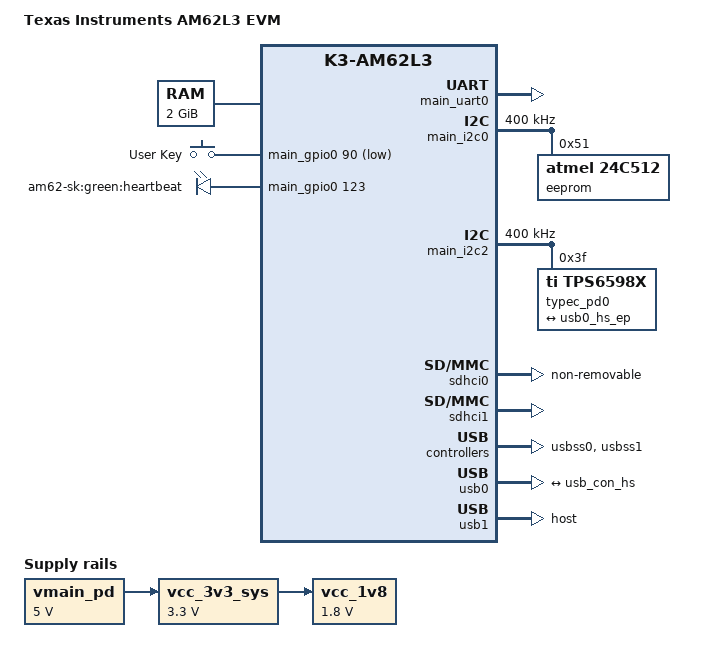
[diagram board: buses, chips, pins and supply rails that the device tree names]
// SPDX-License-Identifier: GPL-2.0-only or MIT
/*
 * Low Power Mode Demo Device Tree file for the AM62L3 Starter Kit
 * Copyright (C) 2024 Texas Instruments Incorporated - https://www.ti.com/
 */

/dts-v1/;

#include <dt-bindings/gpio/gpio.h>
#include <dt-bindings/input/input.h>
#include <dt-bindings/leds/common.h>
#include <dt-bindings/net/ti-dp83867.h>
#include "k3-am62l3.dtsi"
#include "k3-pinctrl.h"

/ {
	compatible = "ti,am62l3-evm", "ti,am62l3";
	model = "Texas Instruments AM62L3 EVM";

	chosen {
		stdout-path = &main_uart0;
	};

	memory@80000000 {
		/* 2G RAM */
		reg = <0x00000000 0x80000000 0x00000000 0x80000000>;
		device_type = "memory";
		bootph-all;
	};

	reserved-memory {
		#address-cells = <2>;
		#size-cells = <2>;
		ranges;

		secure_tfa_ddr: tfa@80000000 {
			reg = <0x00 0x80000000 0x00 0x200000>;
			no-map;
			bootph-all;
		};

		secure_ddr: optee@80200000 {
			reg = <0x00 0x80200000 0x00 0x800000>;
			no-map;
		};

		tifs_ctx_ddr: tifs@80a00000 {
			reg = <0x00 0x80a00000 0x00 0x800000>;
			no-map;
			bootph-all;
		};
	};

	gpio_keys: gpio-keys {
		compatible = "gpio-keys";
		autorepeat;
		pinctrl-names = "default";
		pinctrl-0 = <&usr_button_pins_default>;

		usr: button-usr {
			label = "User Key";
			linux,code = <BTN_0>;
			gpios = <&main_gpio0 90 GPIO_ACTIVE_LOW>;
		};
	};

	leds {
		compatible = "gpio-leds";
		pinctrl-names = "default";
		pinctrl-0 = <&usr_led_pins_default>;

		led-0 {
			label = "am62-sk:green:heartbeat";
			gpios = <&main_gpio0 123 GPIO_ACTIVE_HIGH>;
			linux,default-trigger = "heartbeat";
			function = LED_FUNCTION_HEARTBEAT;
			default-state = "on";
		};
	};

	vmain_pd: regulator-0 {
		/* TPS65988 PD CONTROLLER OUTPUT */
		bootph-all;
		compatible = "regulator-fixed";
		regulator-name = "vmain_pd";
		regulator-min-microvolt = <5000000>;
		regulator-max-microvolt = <5000000>;
		regulator-always-on;
		regulator-boot-on;
	};

	vcc_3v3_sys: regulator-1 {
		/* output of LM61460-Q1 */
		compatible = "regulator-fixed";
		regulator-name = "vcc_3v3_sys";
		regulator-min-microvolt = <3300000>;
		regulator-max-microvolt = <3300000>;
		vin-supply = <&vmain_pd>;
		regulator-always-on;
		regulator-boot-on;
	};

	vcc_1v8: regulator-3 {
		/* output of TPS6282518DMQ */
		compatible = "regulator-fixed";
		regulator-name = "vcc_1v8";
		regulator-min-microvolt = <1800000>;
		regulator-max-microvolt = <1800000>;
		vin-supply = <&vcc_3v3_sys>;
		regulator-always-on;
		regulator-boot-on;
	};
};

&pmx0 {
	main_uart0_pins_default: main-uart0-default-pins {
		pinctrl-single,pins = <
			AM62LX_IOPAD(0x01b4, PIN_INPUT, 0)	/* (D13) UART0_RXD */
			AM62LX_IOPAD(0x01b8, PIN_OUTPUT, 0)	/* (C13) UART0_TXD */
		>;
		bootph-all;
	};

	main_uart1_pins_default: main-uart1-default-pins {
		pinctrl-single,pins = <
			AM62LX_IOPAD(0x0180, PIN_INPUT, 2) /* (A8) MCASP0_AXR3.UART1_CTSn */
			AM62LX_IOPAD(0x0184, PIN_OUTPUT, 2) /* (B10) MCASP0_AXR2.UART1_RTSn */
			AM62LX_IOPAD(0x0198, PIN_INPUT, 2) /* (C11) MCASP0_AFSR.UART1_RXD */
			AM62LX_IOPAD(0x019c, PIN_OUTPUT, 2) /* (A12) MCASP0_ACLKR.UART1_TXD */
		>;
		bootph-all;
	};

	main_i2c0_pins_default: main-i2c0-default-pins {
		pinctrl-single,pins = <
			AM62LX_IOPAD(0x01cc, PIN_INPUT_PULLUP, 0) /* (B7) I2C0_SCL */
			AM62LX_IOPAD(0x01d0, PIN_INPUT_PULLUP, 0) /* (A7) I2C0_SDA */
		>;
		bootph-all;
	};

	main_i2c2_pins_default: main-i2c2-default-pins {
		pinctrl-single,pins = <
			AM62LX_IOPAD(0x01dc, PIN_INPUT_PULLUP, 0) /* (B8) I2C2_SCL */
			AM62LX_IOPAD(0x01e0, PIN_INPUT_PULLUP, 0) /* (D8) I2C2_SDA */
		>;
	};

	main_gpio0_ioexp_intr_pins_default: main-gpio0-ioexp-intr-default-pins {
		pinctrl-single,pins = <
			AM62LX_IOPAD(0x01b0, PIN_INPUT, 7) /* (B12) SPI0_D1.GPIO0_91 */
		>;
		bootph-all;
	};

	usr_led_pins_default: usr-led-pins-default {
		pinctrl-single,pins = <
			AM62LX_IOPAD(0x0238, PIN_OUTPUT, 7) /* (D24) MMC1_SDWP.GPIO0_123 */
		>;
	};

	usr_button_pins_default: usr-button-pins-default {
		pinctrl-single,pins = <
			AM62LX_IOPAD(0x01ac, PIN_INPUT, 7) /* (E12) SPI0_D0.GPIO0_90 */
		>;
	};

	main_mmc0_pins_default: main-mmc0-default-pins {
		pinctrl-single,pins = <
			AM62LX_IOPAD(0x0214, PIN_INPUT_PULLUP, 0) /* (D2) MMC0_CMD */
			AM62LX_IOPAD(0x020c, PIN_OUTPUT, 0) /* (B2) MMC0_CLK */
			AM62LX_IOPAD(0x0208, PIN_INPUT_PULLUP, 0) /* (D3) MMC0_DAT0 */
			AM62LX_IOPAD(0x0204, PIN_INPUT_PULLUP, 0) /* (D4) MMC0_DAT1 */
			AM62LX_IOPAD(0x0200, PIN_INPUT_PULLUP, 0) /* (C1) MMC0_DAT2 */
			AM62LX_IOPAD(0x01fc, PIN_INPUT_PULLUP, 0) /* (C2) MMC0_DAT3 */
			AM62LX_IOPAD(0x01f8, PIN_INPUT_PULLUP, 0) /* (C4) MMC0_DAT4 */
			AM62LX_IOPAD(0x01f4, PIN_INPUT_PULLUP, 0) /* (B3) MMC0_DAT5 */
			AM62LX_IOPAD(0x01f0, PIN_INPUT_PULLUP, 0) /* (A3) MMC0_DAT6 */
			AM62LX_IOPAD(0x01ec, PIN_INPUT_PULLUP, 0) /* (B4) MMC0_DAT7 */
		>;
		bootph-all;
	};

	main_mmc1_pins_default: main-mmc1-default-pins {
		pinctrl-single,pins = <
			AM62LX_IOPAD(0x0230, PIN_INPUT, 0) /* (Y3) MMC1_CMD */
			AM62LX_IOPAD(0x0228, PIN_OUTPUT, 0) /* (Y2) MMC1_CLK */
			AM62LX_IOPAD(0x0224, PIN_INPUT, 0) /* (AA1) MMC1_DAT0 */
			AM62LX_IOPAD(0x0220, PIN_INPUT_PULLUP, 0) /* (Y4) MMC1_DAT1 */
			AM62LX_IOPAD(0x021c, PIN_INPUT_PULLUP, 0) /* (AA2) MMC1_DAT2 */
			AM62LX_IOPAD(0x0218, PIN_INPUT_PULLUP, 0) /* (AB2) MMC1_DAT3 */
			AM62LX_IOPAD(0x0234, PIN_INPUT, 0) /* (B6) MMC1_SDCD */
		>;
		bootph-all;
	};

	main_usb1_default_pins: main-usb1-default-pins {
		pinctrl-single,pins = <
			AM62LX_IOPAD(0x0248, PIN_INPUT | PIN_DS_PULLUD_ENABLE | PIN_DS_PULL_UP, 0) /* (A5) USB1_DRVVBUS */
		>;
	};

};

&main_uart0 {
	pinctrl-names = "default";
	pinctrl-0 = <&main_uart0_pins_default>;
	status = "okay";
	bootph-all;
};

&main_uart1 {
	pinctrl-names = "default";
	pinctrl-0 = <&main_uart1_pins_default>;
	status = "okay";
	bootph-all;
};

&main_i2c0 {
	status = "okay";
	pinctrl-names = "default";
	pinctrl-0 = <&main_i2c0_pins_default>;
	clock-frequency = <400000>;
	bootph-all;

	eeprom@51 {
		/* AT24C512C-MAHM-T or M24512-DFMC6TG */
		compatible = "atmel,24c512";
		reg = <0x51>;
	};
};

&main_i2c2 {
	status = "okay";
	pinctrl-names = "default";
	pinctrl-0 = <&main_i2c2_pins_default>;
	clock-frequency = <400000>;

	typec_pd0: tps6598x@3f {
		compatible = "ti,tps6598x";
		reg = <0x3f>;

		connector {
			compatible = "usb-c-connector";
			label = "USB-C";
			self-powered;
			data-role = "dual";
			power-role = "sink";
			port {
				usb_con_hs: endpoint {
					remote-endpoint = <&usb0_hs_ep>;
				};
			};
		};
	};
};

&main_gpio0 {
	status = "okay";
	bootph-all;
};

&main_gpio2 {
	status = "okay";
	bootph-all;
};

&sdhci0 {
	/* eMMC */
	non-removable;
	pinctrl-names = "default";
	pinctrl-0 = <&main_mmc0_pins_default>;
	status = "okay";
	bootph-all;
};

&sdhci1 {
	/* SD/MMC */
	pinctrl-names = "default";
	pinctrl-0 = <&main_mmc1_pins_default>;
	status = "okay";
	bootph-all;
};

&usbss0 {
	status = "okay";
	ti,vbus-divider;
};

&usb0 {
	usb-role-switch;

	port {
		usb0_hs_ep: endpoint {
			remote-endpoint = <&usb_con_hs>;
		};
	};
};

&usbss1 {
	status = "okay";
	ti,vbus-divider;
};

&usb1 {
	dr_mode = "host";
	pinctrl-names = "default";
	pinctrl-0 = <&main_usb1_default_pins>;
};

/delete-node/ &main_rti1;
/delete-node/ &main_bcdma;
/delete-node/ &mcasp0;
/delete-node/ &mcasp1;
/delete-node/ &mcasp2;
/delete-node/ &crypto;
/delete-node/ &main_uart1;
